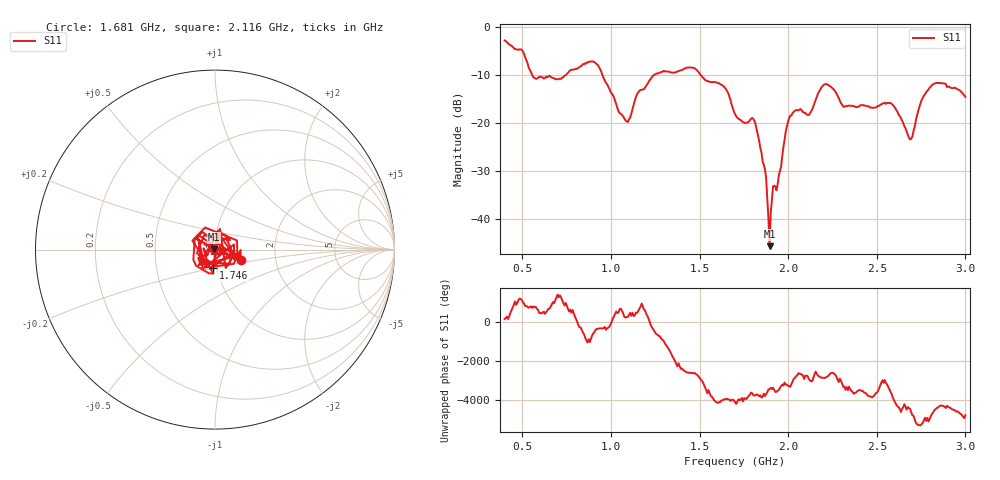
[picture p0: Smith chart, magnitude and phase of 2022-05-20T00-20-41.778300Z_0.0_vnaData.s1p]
!Created with skrf (http://scikit-rf.org).
# Hz S RI R 50.0
!freq ReS11 ImS11
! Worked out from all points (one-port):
!   401 points, 400 MHz to 3 GHz, reference 50 ohm
!   lowest |S11| = -45.7 dB at 1.895 GHz (marker M1), VSWR 1.01, Z = 49.5 + j0.0804 ohm
!   |S11| at or under -10 dB: 555.3 MHz to 747.8 MHz (192.5 MHz wide, 29.6 % of centre); 951.1 MHz to 1.247 GHz (295.7 MHz wide, 26.9 % of centre); 1.505 GHz to end of sweep
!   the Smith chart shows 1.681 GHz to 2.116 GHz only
!   S11 on the Smith chart (normalised r, x): 1.681 GHz: 1.33, -0.16; 1.746 GHz: 0.96, -0.20; 2.116 GHz: 1.26, -0.09
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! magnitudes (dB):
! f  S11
! 400 MHz  -2.9
! 497.5 MHz  -4.9
! 569 MHz  -10.7
! 725 MHz  -10.6
! 907 MHz  -7.4
! 1.05 GHz  -18.0
! 1.095 GHz  -19.9
! 1.238 GHz  -10.2
! 1.375 GHz  -9.4
! 1.472 GHz  -8.7
! 1.635 GHz  -12.4
! 1.681 GHz  -16.2
! 1.7 GHz  -18.2
! 1.746 GHz  -19.9
! 1.817 GHz  -20.5
! 1.863 GHz  -28.7
! 1.895 GHz  -45.7
! 1.992 GHz  -20.9
! 2.025 GHz  -18.0
! 2.116 GHz  -18.4
! 2.207 GHz  -12.0
! 2.35 GHz  -16.4
! 2.578 GHz  -15.9
! 2.675 GHz  -22.5
! 2.701 GHz  -22.9
! 2.753 GHz  -15.3
! 2.818 GHz  -12.0
! 3 GHz  -14.6
